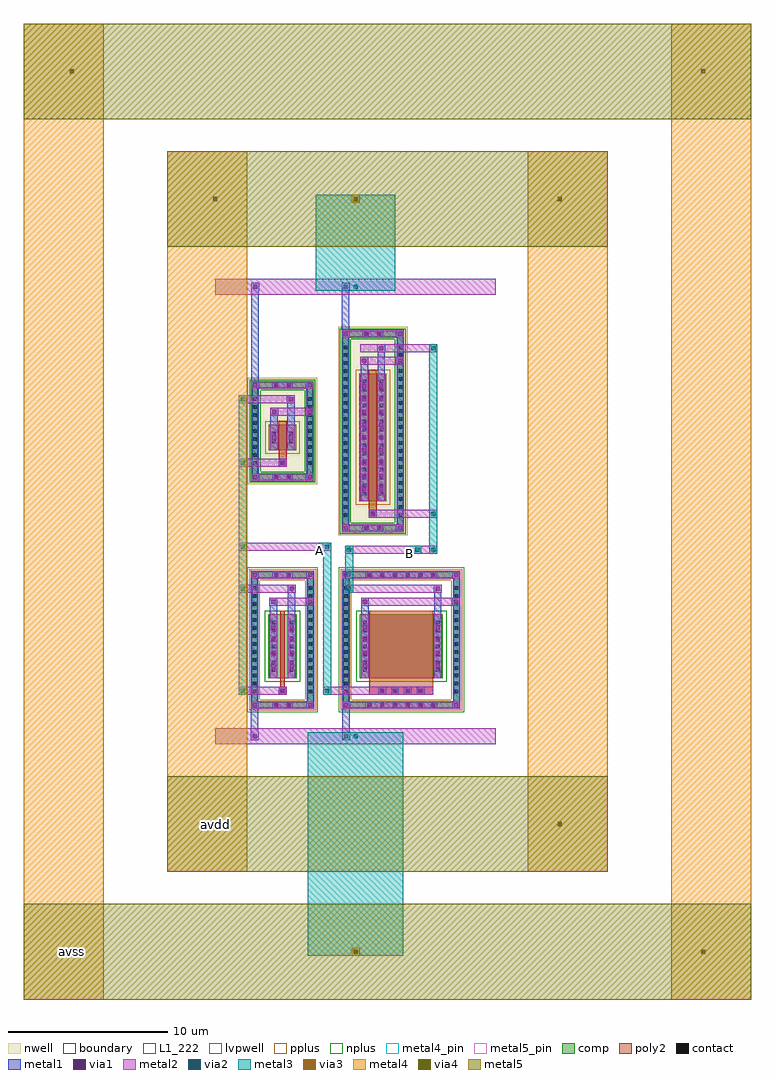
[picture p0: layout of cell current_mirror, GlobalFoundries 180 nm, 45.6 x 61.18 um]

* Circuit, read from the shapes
.subckt current_mirror A B avdd avss
XM1 A A avss avss nfet_03v3 w=4u l=0.28u
XM2 B A avss avss nfet_03v3 w=4u l=4u
XM3 A A avdd avdd pfet_03v3 w=1.6u l=0.5u
XM4 B B avdd avdd pfet_03v3 w=8u l=0.5u
.ends

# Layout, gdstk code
import gdstk
lib = gdstk.Library(unit=1e-6, precision=1e-09)
def R(c, l, rs):  # rectangles x0, y0, x1, y1
    for r in rs: c.add(gdstk.rectangle(r[:2], r[2:], *l))
def A(c, l, x, y, w, h, nx, ny, dx, dy):  # array of equal rectangles
    R(c, l, [(x+i*dx, y+j*dy, x+i*dx+w, y+j*dy+h) for i in range(nx) for j in range(ny)])
def P(c, l, *ps):  # polygons
    for p in ps: c.add(gdstk.Polygon(p, *l))
boundary = (0, 0)
L1_222 = (1, 222)
nwell = (21, 0)
comp = (22, 0)
poly2 = (30, 0)
pplus = (31, 0)
nplus = (32, 0)
contact = (33, 0)
metal1 = (34, 0)
via1 = (35, 0)
metal2 = (36, 0)
via2 = (38, 0)
via3 = (40, 0)
via4 = (41, 0)
metal3 = (42, 0)
metal4 = (46, 0)
metal4_pin = (46, 10)
metal5 = (81, 0)
metal5_pin = (81, 10)
lvpwell = (204, 0)

c_m1 = lib.new_cell('M1')
A(c_m1, comp, -1.94, -3.43, 0.36, 0.36, 1, 14, 0, 0.5)
A(c_m1, comp, 1.58, -3.43, 0.36, 0.36, 1, 14, 0, 0.5)
R(c_m1, comp, [(-0.58,-4.265,-0.22,-3.905), (-0.58,-4.265,0.58,-3.905), (0.22,-4.265,0.58,-3.905), (-1.94,-3.43,-1.58,3.43), (1.58,-3.43,1.94,3.43), (-0.89,-2.405,0.89,1.595), (-0.58,3.905,-0.22,4.265), (-0.58,3.905,0.58,4.265), (0.22,3.905,0.58,4.265)])
P(c_m1, comp, [(-1.94,-4.265),(-1.94,-3.905),(-1.58,-3.905),(1.58,-3.905),(1.58,3.905),(-1.58,3.905),(-1.58,-3.905),(-1.94,-3.905),(-1.94,4.265),(1.94,4.265),(1.94,-4.265)])
R(c_m1, poly2, [(-0.25,-3.445,0.25,-2.945), (-0.18,-3.375,0.18,-3.015), (-0.14,-2.945,0.14,-2.645), (-0.14,-2.645,0.14,1.835)])
P(c_m1, pplus, [(-2.1,-4.425),(-2.1,-3.745),(-1.42,-3.745),(1.42,-3.745),(1.42,3.745),(-1.42,3.745),(-1.42,-3.745),(-2.1,-3.745),(-2.1,4.425),(2.1,4.425),(2.1,-4.425)])
R(c_m1, nplus, [(-1.12,-2.635,1.12,1.825)])
A(c_m1, contact, -1.87, -3.36, 0.22, 0.22, 1, 14, 0, 0.5)
A(c_m1, contact, 1.65, -3.36, 0.22, 0.22, 1, 14, 0, 0.5)
A(c_m1, contact, -0.68, -2.015, 0.22, 0.22, 1, 7, 0, 0.5)
A(c_m1, contact, 0.46, -2.015, 0.22, 0.22, 1, 7, 0, 0.5)
R(c_m1, contact, [(-0.51,-4.195,-0.29,-3.975), (0.29,-4.195,0.51,-3.975), (-0.11,-3.305,0.11,-3.085), (-0.51,3.975,-0.29,4.195), (0.29,3.975,0.51,4.195)])
A(c_m1, metal1, -1.99, -3.48, 0.46, 0.46, 1, 14, 0, 0.5)
A(c_m1, metal1, 1.53, -3.48, 0.46, 0.46, 1, 14, 0, 0.5)
A(c_m1, metal1, -0.8, -2.135, 0.46, 0.46, 1, 7, 0, 0.5)
A(c_m1, metal1, 0.34, -2.135, 0.46, 0.46, 1, 7, 0, 0.5)
A(c_m1, metal1, -0.82, -1.855, 0.5, 0.5, 1, 4, 0, 0.8)
A(c_m1, metal1, 0.32, -1.855, 0.5, 0.5, 1, 4, 0, 0.8)
R(c_m1, metal1, [(-1.99,-4.335,-1.49,-3.835), (-1.99,-4.335,-1.49,-3.835), (-1.99,-4.335,-1.53,-3.905), (-0.65,-4.335,-0.15,-3.835), (-0.65,-4.335,0.65,-3.835), (0.15,-4.335,0.65,-3.835), (1.49,-4.335,1.99,-3.835), (1.49,-4.335,1.99,-3.835), (1.53,-4.335,1.99,-3.905), (-1.99,-3.905,-1.53,3.905), (1.53,-3.905,1.99,3.905), (-0.25,-3.445,0.25,-2.945), (-0.8,-2.405,-0.34,1.595), (0.34,-2.405,0.8,1.595), (-0.82,-1.855,-0.32,1.045), (0.32,-1.855,0.82,1.045), (-0.8,1.595,-0.34,2.645), (0.34,1.595,0.8,3.445), (-0.82,2.145,-0.32,2.645), (0.32,2.945,0.82,3.445), (-1.99,3.835,-1.49,4.335), (-1.99,3.835,-1.49,4.335), (-0.65,3.835,-0.15,4.335), (-0.65,3.835,0.65,4.335), (0.15,3.835,0.65,4.335), (1.49,3.835,1.99,4.335), (1.49,3.835,1.99,4.335), (-1.99,3.905,-1.53,4.335), (1.53,3.905,1.99,4.335)])
A(c_m1, via1, -0.7, -1.735, 0.26, 0.26, 1, 4, 0, 0.8)
A(c_m1, via1, 0.44, -1.735, 0.26, 0.26, 1, 4, 0, 0.8)
R(c_m1, via1, [(-1.87,-4.215,-1.61,-3.955), (-0.53,-4.215,-0.27,-3.955), (0.27,-4.215,0.53,-3.955), (1.61,-4.215,1.87,-3.955), (-0.13,-3.325,0.13,-3.065), (-0.7,2.265,-0.44,2.525), (0.44,3.065,0.7,3.325), (-1.87,3.955,-1.61,4.215), (-0.53,3.955,-0.27,4.215), (0.27,3.955,0.53,4.215), (1.61,3.955,1.87,4.215)])
A(c_m1, metal2, -0.82, -1.855, 0.5, 0.5, 1, 4, 0, 0.8)
A(c_m1, metal2, 0.32, -1.855, 0.5, 0.5, 1, 4, 0, 0.8)
R(c_m1, metal2, [(-1.99,-4.335,-1.49,-3.835), (-1.99,-4.335,-1.49,-3.835), (-1.99,-4.335,-1.58,-3.835), (-1.58,-4.335,1.58,-3.835), (-0.65,-4.335,-0.15,-3.835), (0.15,-4.335,0.65,-3.835), (1.49,-4.335,1.99,-3.835), (1.49,-4.335,1.99,-3.835), (1.58,-4.335,1.99,-3.835), (-0.25,-3.445,0.25,-2.945), (-0.25,-3.445,0.25,-2.945), (-0.82,-2.405,-0.32,1.595), (0.32,-2.405,0.82,1.595), (-0.82,2.145,-0.32,2.645), (-0.82,2.145,0.82,2.645), (-0.82,2.945,0.82,3.445), (0.32,2.945,0.82,3.445), (-1.99,3.835,-1.49,4.335), (-1.99,3.835,-1.49,4.335), (-1.99,3.835,-1.58,4.335), (-1.58,3.835,1.58,4.335), (-0.65,3.835,-0.15,4.335), (0.15,3.835,0.65,4.335), (1.49,3.835,1.99,4.335), (1.49,3.835,1.99,4.335), (1.58,3.835,1.99,4.335)])
R(c_m1, lvpwell, [(-2.22,-4.545,2.22,4.545)])

c_m2 = lib.new_cell('M2')
A(c_m2, comp, -2.18, -4.265, 0.36, 0.36, 6, 2, 0.8, 8.17)
A(c_m2, comp, -3.65, -3.43, 0.36, 0.36, 1, 14, 0, 0.5)
A(c_m2, comp, 3.29, -3.43, 0.36, 0.36, 1, 14, 0, 0.5)
R(c_m2, comp, [(-2.18,-4.265,2.18,-3.905), (-3.65,-3.43,-3.29,3.43), (3.29,-3.43,3.65,3.43), (-2.6,-2.405,2.6,1.595), (-2.18,3.905,2.18,4.265)])
P(c_m2, comp, [(-3.65,-4.265),(-3.65,-3.905),(-3.29,-3.905),(3.29,-3.905),(3.29,3.905),(-3.29,3.905),(-3.29,-3.905),(-3.65,-3.905),(-3.65,4.265),(3.65,4.265),(3.65,-4.265)])
A(c_m2, poly2, -1.38, -3.375, 0.36, 0.36, 4, 1, 0.8, 0)
R(c_m2, poly2, [(-2,-3.445,2,-2.945), (-2,-2.945,2,-2.645), (-2,-2.645,2,1.835)])
P(c_m2, pplus, [(-3.81,-4.425),(-3.81,-3.745),(-3.13,-3.745),(3.13,-3.745),(3.13,3.745),(-3.13,3.745),(-3.13,-3.745),(-3.81,-3.745),(-3.81,4.425),(3.81,4.425),(3.81,-4.425)])
R(c_m2, nplus, [(-2.83,-2.635,2.83,1.825)])
A(c_m2, contact, -2.11, -4.195, 0.22, 0.22, 6, 2, 0.8, 8.17)
A(c_m2, contact, -3.58, -3.36, 0.22, 0.22, 1, 14, 0, 0.5)
A(c_m2, contact, 3.36, -3.36, 0.22, 0.22, 1, 14, 0, 0.5)
A(c_m2, contact, -1.31, -3.305, 0.22, 0.22, 4, 1, 0.8, 0)
A(c_m2, contact, -2.39, -2.015, 0.22, 0.22, 1, 7, 0, 0.5)
A(c_m2, contact, 2.17, -2.015, 0.22, 0.22, 1, 7, 0, 0.5)
A(c_m2, metal1, -2.25, -4.335, 0.5, 0.5, 6, 2, 0.8, 8.17)
A(c_m2, metal1, -3.7, -3.48, 0.46, 0.46, 1, 14, 0, 0.5)
A(c_m2, metal1, 3.24, -3.48, 0.46, 0.46, 1, 14, 0, 0.5)
A(c_m2, metal1, -1.45, -3.445, 0.5, 0.5, 4, 1, 0.8, 0)
A(c_m2, metal1, -2.51, -2.135, 0.46, 0.46, 1, 7, 0, 0.5)
A(c_m2, metal1, 2.05, -2.135, 0.46, 0.46, 1, 7, 0, 0.5)
A(c_m2, metal1, -2.53, -1.855, 0.5, 0.5, 1, 4, 0, 0.8)
A(c_m2, metal1, 2.03, -1.855, 0.5, 0.5, 1, 4, 0, 0.8)
R(c_m2, metal1, [(-3.7,-4.335,-3.2,-3.835), (-3.7,-4.335,-3.2,-3.835), (-3.7,-4.335,-3.24,-3.905), (-2.25,-4.335,2.25,-3.835), (3.2,-4.335,3.7,-3.835), (3.2,-4.335,3.7,-3.835), (3.24,-4.335,3.7,-3.905), (-3.7,-3.905,-3.24,3.905), (3.24,-3.905,3.7,3.905), (-2.51,-2.405,-2.05,1.595), (2.05,-2.405,2.51,1.595), (-2.53,-1.855,-2.03,1.045), (2.03,-1.855,2.53,1.045), (-2.51,1.595,-2.05,2.645), (2.05,1.595,2.51,3.445), (-2.53,2.145,-2.03,2.645), (2.03,2.945,2.53,3.445), (-3.7,3.835,-3.2,4.335), (-3.7,3.835,-3.2,4.335), (-2.25,3.835,2.25,4.335), (3.2,3.835,3.7,4.335), (3.2,3.835,3.7,4.335), (-3.7,3.905,-3.24,4.335), (3.24,3.905,3.7,4.335)])
A(c_m2, via1, -2.13, -4.215, 0.26, 0.26, 6, 2, 0.8, 8.17)
A(c_m2, via1, -1.33, -3.325, 0.26, 0.26, 4, 1, 0.8, 0)
A(c_m2, via1, -2.41, -1.735, 0.26, 0.26, 1, 4, 0, 0.8)
A(c_m2, via1, 2.15, -1.735, 0.26, 0.26, 1, 4, 0, 0.8)
R(c_m2, via1, [(-3.58,-4.215,-3.32,-3.955), (3.32,-4.215,3.58,-3.955), (-2.41,2.265,-2.15,2.525), (2.15,3.065,2.41,3.325), (-3.58,3.955,-3.32,4.215), (3.32,3.955,3.58,4.215)])
A(c_m2, metal2, -2.25, -4.335, 0.5, 0.5, 6, 2, 0.8, 8.17)
A(c_m2, metal2, -1.45, -3.445, 0.5, 0.5, 4, 1, 0.8, 0)
A(c_m2, metal2, -2.53, -1.855, 0.5, 0.5, 1, 4, 0, 0.8)
A(c_m2, metal2, 2.03, -1.855, 0.5, 0.5, 1, 4, 0, 0.8)
R(c_m2, metal2, [(-3.7,-4.335,-3.2,-3.835), (-3.7,-4.335,-3.2,-3.835), (-3.7,-4.335,-3.29,-3.835), (-3.29,-4.335,3.29,-3.835), (3.2,-4.335,3.7,-3.835), (3.2,-4.335,3.7,-3.835), (3.29,-4.335,3.7,-3.835), (-2,-3.445,2,-2.945), (-2.53,-2.405,-2.03,1.595), (2.03,-2.405,2.53,1.595), (-2.53,2.145,-2.03,2.645), (-2.53,2.145,2.53,2.645), (-2.53,2.945,2.53,3.445), (2.03,2.945,2.53,3.445), (-3.7,3.835,-3.2,4.335), (-3.7,3.835,-3.2,4.335), (-3.7,3.835,-3.29,4.335), (-3.29,3.835,3.29,4.335), (3.2,3.835,3.7,4.335), (3.2,3.835,3.7,4.335), (3.29,3.835,3.7,4.335)])
R(c_m2, lvpwell, [(-3.93,-4.545,3.93,4.545)])

c_m3 = lib.new_cell('M3')
R(c_m3, nwell, [(-2.18,-6.545,2.18,6.545), (-2.02,-6.385,2.02,6.385)])
A(c_m3, comp, -1.9, -5.43, 0.36, 0.36, 1, 22, 0, 0.5)
A(c_m3, comp, 1.54, -5.43, 0.36, 0.36, 1, 22, 0, 0.5)
R(c_m3, comp, [(-0.58,-6.265,-0.22,-5.905), (-0.58,-6.265,0.58,-5.905), (0.22,-6.265,0.58,-5.905), (-1.9,-5.43,-1.54,5.43), (1.54,-5.43,1.9,5.43), (-0.85,-4.405,0.85,3.595), (-0.58,5.905,-0.22,6.265), (-0.58,5.905,0.58,6.265), (0.22,5.905,0.58,6.265)])
P(c_m3, comp, [(-1.9,-6.265),(-1.9,-5.905),(-1.54,-5.905),(1.54,-5.905),(1.54,5.905),(-1.54,5.905),(-1.54,-5.905),(-1.9,-5.905),(-1.9,6.265),(1.9,6.265),(1.9,-6.265)])
R(c_m3, poly2, [(-0.25,-5.445,0.25,-4.945), (-0.18,-5.375,0.18,-5.015), (-0.25,-4.945,0.25,-4.645), (-0.25,-4.645,0.25,3.835)])
R(c_m3, pplus, [(-1.08,-4.635,1.08,3.825)])
P(c_m3, nplus, [(-2.06,-6.425),(-2.06,-5.745),(-1.38,-5.745),(1.38,-5.745),(1.38,5.745),(-1.38,5.745),(-1.38,-5.745),(-2.06,-5.745),(-2.06,6.425),(2.06,6.425),(2.06,-6.425)])
A(c_m3, contact, -1.83, -5.36, 0.22, 0.22, 1, 22, 0, 0.5)
A(c_m3, contact, 1.61, -5.36, 0.22, 0.22, 1, 22, 0, 0.5)
A(c_m3, contact, -0.64, -4.015, 0.22, 0.22, 1, 15, 0, 0.5)
A(c_m3, contact, 0.42, -4.015, 0.22, 0.22, 1, 15, 0, 0.5)
R(c_m3, contact, [(-0.51,-6.195,-0.29,-5.975), (0.29,-6.195,0.51,-5.975), (-0.11,-5.305,0.11,-5.085), (-0.51,5.975,-0.29,6.195), (0.29,5.975,0.51,6.195)])
A(c_m3, metal1, -1.95, -5.48, 0.46, 0.46, 1, 22, 0, 0.5)
A(c_m3, metal1, 1.49, -5.48, 0.46, 0.46, 1, 22, 0, 0.5)
A(c_m3, metal1, -0.76, -4.135, 0.46, 0.46, 1, 15, 0, 0.5)
A(c_m3, metal1, 0.3, -4.135, 0.46, 0.46, 1, 15, 0, 0.5)
A(c_m3, metal1, -0.78, -3.855, 0.5, 0.5, 1, 9, 0, 0.8)
A(c_m3, metal1, 0.28, -3.855, 0.5, 0.5, 1, 9, 0, 0.8)
R(c_m3, metal1, [(-1.95,-6.335,-1.45,-5.835), (-1.95,-6.335,-1.45,-5.835), (-1.95,-6.335,-1.49,-5.905), (-0.65,-6.335,-0.15,-5.835), (-0.65,-6.335,0.65,-5.835), (0.15,-6.335,0.65,-5.835), (1.45,-6.335,1.95,-5.835), (1.45,-6.335,1.95,-5.835), (1.49,-6.335,1.95,-5.905), (-1.95,-5.905,-1.49,5.905), (1.49,-5.905,1.95,5.905), (-0.25,-5.445,0.25,-4.945), (-0.76,-4.405,-0.3,3.595), (0.3,-4.405,0.76,3.595), (-0.78,-3.855,-0.28,3.045), (0.28,-3.855,0.78,3.045), (-0.76,3.595,-0.3,4.645), (0.3,3.595,0.76,5.445), (-0.78,4.145,-0.28,4.645), (0.28,4.945,0.78,5.445), (-1.95,5.835,-1.45,6.335), (-1.95,5.835,-1.45,6.335), (-0.65,5.835,-0.15,6.335), (-0.65,5.835,0.65,6.335), (0.15,5.835,0.65,6.335), (1.45,5.835,1.95,6.335), (1.45,5.835,1.95,6.335), (-1.95,5.905,-1.49,6.335), (1.49,5.905,1.95,6.335)])
A(c_m3, via1, -0.66, -3.735, 0.26, 0.26, 1, 9, 0, 0.8)
A(c_m3, via1, 0.4, -3.735, 0.26, 0.26, 1, 9, 0, 0.8)
R(c_m3, via1, [(-1.83,-6.215,-1.57,-5.955), (-0.53,-6.215,-0.27,-5.955), (0.27,-6.215,0.53,-5.955), (1.57,-6.215,1.83,-5.955), (-0.13,-5.325,0.13,-5.065), (-0.66,4.265,-0.4,4.525), (0.4,5.065,0.66,5.325), (-1.83,5.955,-1.57,6.215), (-0.53,5.955,-0.27,6.215), (0.27,5.955,0.53,6.215), (1.57,5.955,1.83,6.215)])
A(c_m3, metal2, -0.78, -3.855, 0.5, 0.5, 1, 9, 0, 0.8)
A(c_m3, metal2, 0.28, -3.855, 0.5, 0.5, 1, 9, 0, 0.8)
R(c_m3, metal2, [(-1.95,-6.335,-1.45,-5.835), (-1.95,-6.335,-1.45,-5.835), (-1.95,-6.335,-1.54,-5.835), (-1.54,-6.335,1.54,-5.835), (-0.65,-6.335,-0.15,-5.835), (0.15,-6.335,0.65,-5.835), (1.45,-6.335,1.95,-5.835), (1.45,-6.335,1.95,-5.835), (1.54,-6.335,1.95,-5.835), (-0.25,-5.445,0.25,-4.945), (-0.25,-5.445,0.25,-4.945), (-0.78,-4.405,-0.28,3.595), (0.28,-4.405,0.78,3.595), (-0.78,4.145,-0.28,4.645), (-0.78,4.145,0.78,4.645), (-0.78,4.945,0.78,5.445), (0.28,4.945,0.78,5.445), (-1.95,5.835,-1.45,6.335), (-1.95,5.835,-1.45,6.335), (-1.95,5.835,-1.54,6.335), (-1.54,5.835,1.54,6.335), (-0.65,5.835,-0.15,6.335), (0.15,5.835,0.65,6.335), (1.45,5.835,1.95,6.335), (1.45,5.835,1.95,6.335), (1.54,5.835,1.95,6.335)])

c_m4 = lib.new_cell('M4')
R(c_m4, nwell, [(-2.18,-3.345,2.18,3.345), (-2.02,-3.185,2.02,3.185)])
A(c_m4, comp, -1.9, -2.18, 0.36, 0.36, 1, 9, 0, 0.5)
A(c_m4, comp, 1.54, -2.18, 0.36, 0.36, 1, 9, 0, 0.5)
R(c_m4, comp, [(-0.58,-3.065,-0.22,-2.705), (-0.58,-3.065,0.58,-2.705), (0.22,-3.065,0.58,-2.705), (-1.9,-2.18,-1.54,2.18), (1.54,-2.18,1.9,2.18), (-0.85,-1.205,0.85,0.395), (-0.58,2.705,-0.22,3.065), (-0.58,2.705,0.58,3.065), (0.22,2.705,0.58,3.065)])
P(c_m4, comp, [(-1.9,-3.065),(-1.9,-2.705),(-1.54,-2.705),(1.54,-2.705),(1.54,2.705),(-1.54,2.705),(-1.54,-2.705),(-1.9,-2.705),(-1.9,3.065),(1.9,3.065),(1.9,-3.065)])
R(c_m4, poly2, [(-0.25,-2.245,0.25,-1.745), (-0.18,-2.175,0.18,-1.815), (-0.25,-1.745,0.25,-1.445), (-0.25,-1.445,0.25,0.635)])
R(c_m4, pplus, [(-1.08,-1.435,1.08,0.625)])
P(c_m4, nplus, [(-2.06,-3.225),(-2.06,-2.545),(-1.38,-2.545),(1.38,-2.545),(1.38,2.545),(-1.38,2.545),(-1.38,-2.545),(-2.06,-2.545),(-2.06,3.225),(2.06,3.225),(2.06,-3.225)])
A(c_m4, contact, -1.83, -2.11, 0.22, 0.22, 1, 9, 0, 0.5)
A(c_m4, contact, 1.61, -2.11, 0.22, 0.22, 1, 9, 0, 0.5)
R(c_m4, contact, [(-0.51,-2.995,-0.29,-2.775), (0.29,-2.995,0.51,-2.775), (-0.11,-2.105,0.11,-1.885), (-0.64,-0.765,-0.42,-0.545), (0.42,-0.765,0.64,-0.545), (-0.64,-0.265,-0.42,-0.045), (0.42,-0.265,0.64,-0.045), (-0.51,2.775,-0.29,2.995), (0.29,2.775,0.51,2.995)])
A(c_m4, metal1, -1.95, -2.23, 0.46, 0.46, 1, 9, 0, 0.5)
A(c_m4, metal1, 1.49, -2.23, 0.46, 0.46, 1, 9, 0, 0.5)
R(c_m4, metal1, [(-1.95,-3.135,-1.45,-2.635), (-1.95,-3.135,-1.45,-2.635), (-1.95,-3.135,-1.49,-2.705), (-0.65,-3.135,-0.15,-2.635), (-0.65,-3.135,0.65,-2.635), (0.15,-3.135,0.65,-2.635), (1.45,-3.135,1.95,-2.635), (1.45,-3.135,1.95,-2.635), (1.49,-3.135,1.95,-2.705), (-1.95,-2.705,-1.49,2.705), (1.49,-2.705,1.95,2.705), (-0.25,-2.245,0.25,-1.745), (-0.76,-1.205,-0.3,0.395), (0.3,-1.205,0.76,0.395), (-0.76,-0.885,-0.3,-0.425), (0.3,-0.885,0.76,-0.425), (-0.78,-0.655,-0.28,-0.155), (-0.78,-0.655,-0.28,-0.155), (0.28,-0.655,0.78,-0.155), (0.28,-0.655,0.78,-0.155), (-0.76,-0.385,-0.3,0.075), (0.3,-0.385,0.76,0.075), (-0.76,0.395,-0.3,1.445), (0.3,0.395,0.76,2.245), (-0.78,0.945,-0.28,1.445), (0.28,1.745,0.78,2.245), (-1.95,2.635,-1.45,3.135), (-1.95,2.635,-1.45,3.135), (-0.65,2.635,-0.15,3.135), (-0.65,2.635,0.65,3.135), (0.15,2.635,0.65,3.135), (1.45,2.635,1.95,3.135), (1.45,2.635,1.95,3.135), (-1.95,2.705,-1.49,3.135), (1.49,2.705,1.95,3.135)])
R(c_m4, via1, [(-1.83,-3.015,-1.57,-2.755), (-0.53,-3.015,-0.27,-2.755), (0.27,-3.015,0.53,-2.755), (1.57,-3.015,1.83,-2.755), (-0.13,-2.125,0.13,-1.865), (-0.66,-0.535,-0.4,-0.275), (0.4,-0.535,0.66,-0.275), (-0.66,1.065,-0.4,1.325), (0.4,1.865,0.66,2.125), (-1.83,2.755,-1.57,3.015), (-0.53,2.755,-0.27,3.015), (0.27,2.755,0.53,3.015), (1.57,2.755,1.83,3.015)])
R(c_m4, metal2, [(-1.95,-3.135,-1.45,-2.635), (-1.95,-3.135,-1.45,-2.635), (-1.95,-3.135,-1.54,-2.635), (-1.54,-3.135,1.54,-2.635), (-0.65,-3.135,-0.15,-2.635), (0.15,-3.135,0.65,-2.635), (1.45,-3.135,1.95,-2.635), (1.45,-3.135,1.95,-2.635), (1.54,-3.135,1.95,-2.635), (-0.25,-2.245,0.25,-1.745), (-0.25,-2.245,0.25,-1.745), (-0.78,-1.205,-0.28,0.395), (0.28,-1.205,0.78,0.395), (-0.78,-0.655,-0.28,-0.155), (0.28,-0.655,0.78,-0.155), (-0.78,0.945,-0.28,1.445), (-0.78,0.945,0.78,1.445), (-0.78,1.745,0.78,2.245), (0.28,1.745,0.78,2.245), (-1.95,2.635,-1.45,3.135), (-1.95,2.635,-1.45,3.135), (-1.95,2.635,-1.54,3.135), (-1.54,2.635,1.54,3.135), (-0.65,2.635,-0.15,3.135), (0.15,2.635,0.65,3.135), (1.45,2.635,1.95,3.135), (1.45,2.635,1.95,3.135), (1.54,2.635,1.95,3.135)])

compass_efcb33f4 = lib.new_cell('compass_efcb33f4')
R(compass_efcb33f4, metal2, [(-8.8,-0.5,8.8,0.5)])

rectangle_efcb33f4 = lib.new_cell('rectangle_efcb33f4')
rectangle_efcb33f4.add(gdstk.Reference(compass_efcb33f4, (8.8,0.5)))

compass_efcb33f4_1 = lib.new_cell('compass_efcb33f4$1')
R(compass_efcb33f4_1, metal2, [(-8.8,-0.5,8.8,0.5)])

rectangle_efcb33f4_1 = lib.new_cell('rectangle_efcb33f4$1')
rectangle_efcb33f4_1.add(gdstk.Reference(compass_efcb33f4_1, (8.8,0.5)))

via_stack_a2e89513 = lib.new_cell('via_stack_a2e89513')
R(via_stack_a2e89513, metal2, [(-0.25,-0.25,0.25,0.25)])
R(via_stack_a2e89513, via2, [(-0.13,-0.13,0.13,0.13)])
R(via_stack_a2e89513, metal3, [(-0.25,-0.25,0.25,0.25)])

compass_419645f2 = lib.new_cell('compass_419645f2')
R(compass_419645f2, metal5, [(-13.8,-3,13.8,3)])

rectangle_419645f2 = lib.new_cell('rectangle_419645f2')
rectangle_419645f2.add(gdstk.Reference(compass_419645f2, (13.8,3)))

compass_b1b70d86 = lib.new_cell('compass_b1b70d86')
R(compass_b1b70d86, metal5_pin, [(-13.8,-3,13.8,3)])

rectangle_b1b70d86 = lib.new_cell('rectangle_b1b70d86')
rectangle_b1b70d86.add(gdstk.Reference(compass_b1b70d86, (13.8,3)))

compass_09765aef = lib.new_cell('compass_09765aef')
R(compass_09765aef, metal5, [(-22.8,-3,22.8,3)])

rectangle_09765aef = lib.new_cell('rectangle_09765aef')
rectangle_09765aef.add(gdstk.Reference(compass_09765aef, (22.8,3)))

compass_440c9197 = lib.new_cell('compass_440c9197')
R(compass_440c9197, metal5_pin, [(-22.8,-3,22.8,3)])

rectangle_440c9197 = lib.new_cell('rectangle_440c9197')
rectangle_440c9197.add(gdstk.Reference(compass_440c9197, (22.8,3)))

compass_419645f2_1 = lib.new_cell('compass_419645f2$1')
R(compass_419645f2_1, metal5, [(-13.8,-3,13.8,3)])

rectangle_419645f2_1 = lib.new_cell('rectangle_419645f2$1')
rectangle_419645f2_1.add(gdstk.Reference(compass_419645f2_1, (13.8,3)))

compass_b1b70d86_1 = lib.new_cell('compass_b1b70d86$1')
R(compass_b1b70d86_1, metal5_pin, [(-13.8,-3,13.8,3)])

rectangle_b1b70d86_1 = lib.new_cell('rectangle_b1b70d86$1')
rectangle_b1b70d86_1.add(gdstk.Reference(compass_b1b70d86_1, (13.8,3)))

compass_09765aef_1 = lib.new_cell('compass_09765aef$1')
R(compass_09765aef_1, metal5, [(-22.8,-3,22.8,3)])

rectangle_09765aef_1 = lib.new_cell('rectangle_09765aef$1')
rectangle_09765aef_1.add(gdstk.Reference(compass_09765aef_1, (22.8,3)))

compass_440c9197_1 = lib.new_cell('compass_440c9197$1')
R(compass_440c9197_1, metal5_pin, [(-22.8,-3,22.8,3)])

rectangle_440c9197_1 = lib.new_cell('rectangle_440c9197$1')
rectangle_440c9197_1.add(gdstk.Reference(compass_440c9197_1, (22.8,3)))

via_stack_52ee5bc6 = lib.new_cell('via_stack_52ee5bc6')
R(via_stack_52ee5bc6, via4, [(-0.13,-0.13,0.13,0.13)])
R(via_stack_52ee5bc6, metal4, [(-0.25,-0.25,0.25,0.25)])
R(via_stack_52ee5bc6, metal5, [(-0.25,-0.25,0.25,0.25)])

via_stack_52ee5bc6_1 = lib.new_cell('via_stack_52ee5bc6$1')
R(via_stack_52ee5bc6_1, via4, [(-0.13,-0.13,0.13,0.13)])
R(via_stack_52ee5bc6_1, metal4, [(-0.25,-0.25,0.25,0.25)])
R(via_stack_52ee5bc6_1, metal5, [(-0.25,-0.25,0.25,0.25)])

via_stack_52ee5bc6_2 = lib.new_cell('via_stack_52ee5bc6$2')
R(via_stack_52ee5bc6_2, via4, [(-0.13,-0.13,0.13,0.13)])
R(via_stack_52ee5bc6_2, metal4, [(-0.25,-0.25,0.25,0.25)])
R(via_stack_52ee5bc6_2, metal5, [(-0.25,-0.25,0.25,0.25)])

via_stack_52ee5bc6_3 = lib.new_cell('via_stack_52ee5bc6$3')
R(via_stack_52ee5bc6_3, via4, [(-0.13,-0.13,0.13,0.13)])
R(via_stack_52ee5bc6_3, metal4, [(-0.25,-0.25,0.25,0.25)])
R(via_stack_52ee5bc6_3, metal5, [(-0.25,-0.25,0.25,0.25)])

compass_0890f839 = lib.new_cell('compass_0890f839')
R(compass_0890f839, metal4, [(-2.5,-30.59,2.5,30.59)])

rectangle_0890f839 = lib.new_cell('rectangle_0890f839')
rectangle_0890f839.add(gdstk.Reference(compass_0890f839, (2.5,30.59)))

compass_c280ddcc = lib.new_cell('compass_c280ddcc')
R(compass_c280ddcc, metal4_pin, [(-2.5,-30.59,2.5,30.59)])

rectangle_c280ddcc = lib.new_cell('rectangle_c280ddcc')
rectangle_c280ddcc.add(gdstk.Reference(compass_c280ddcc, (2.5,30.59)))

compass_0890f839_1 = lib.new_cell('compass_0890f839$1')
R(compass_0890f839_1, metal4, [(-2.5,-30.59,2.5,30.59)])

rectangle_0890f839_1 = lib.new_cell('rectangle_0890f839$1')
rectangle_0890f839_1.add(gdstk.Reference(compass_0890f839_1, (2.5,30.59)))

compass_c280ddcc_1 = lib.new_cell('compass_c280ddcc$1')
R(compass_c280ddcc_1, metal4_pin, [(-2.5,-30.59,2.5,30.59)])

rectangle_c280ddcc_1 = lib.new_cell('rectangle_c280ddcc$1')
rectangle_c280ddcc_1.add(gdstk.Reference(compass_c280ddcc_1, (2.5,30.59)))

compass_76be499d = lib.new_cell('compass_76be499d')
R(compass_76be499d, metal4, [(-2.5,-22.59,2.5,22.59)])

rectangle_76be499d = lib.new_cell('rectangle_76be499d')
rectangle_76be499d.add(gdstk.Reference(compass_76be499d, (2.5,22.59)))

compass_f95d80a2 = lib.new_cell('compass_f95d80a2')
R(compass_f95d80a2, metal4_pin, [(-2.5,-22.59,2.5,22.59)])

rectangle_f95d80a2 = lib.new_cell('rectangle_f95d80a2')
rectangle_f95d80a2.add(gdstk.Reference(compass_f95d80a2, (2.5,22.59)))

compass_76be499d_1 = lib.new_cell('compass_76be499d$1')
R(compass_76be499d_1, metal4, [(-2.5,-22.59,2.5,22.59)])

rectangle_76be499d_1 = lib.new_cell('rectangle_76be499d$1')
rectangle_76be499d_1.add(gdstk.Reference(compass_76be499d_1, (2.5,22.59)))

compass_f95d80a2_1 = lib.new_cell('compass_f95d80a2$1')
R(compass_f95d80a2_1, metal4_pin, [(-2.5,-22.59,2.5,22.59)])

rectangle_f95d80a2_1 = lib.new_cell('rectangle_f95d80a2$1')
rectangle_f95d80a2_1.add(gdstk.Reference(compass_f95d80a2_1, (2.5,22.59)))

straight_route_819dcdec = lib.new_cell('straight_route_819dcdec')
R(straight_route_819dcdec, via3, [(6.67,36.05,6.93,36.31)])
R(straight_route_819dcdec, via4, [(6.67,36.05,6.93,36.31)])
R(straight_route_819dcdec, metal3, [(4.3,30.43,9.3,36.43), (6.55,35.93,7.05,36.43)])
R(straight_route_819dcdec, metal4, [(6.55,35.93,7.05,36.43)])
R(straight_route_819dcdec, metal5, [(6.55,35.93,7.05,36.43)])

straight_route_5f260ded = lib.new_cell('straight_route_5f260ded')
R(straight_route_5f260ded, via3, [(6.67,-11.13,6.93,-10.87)])
R(straight_route_5f260ded, via4, [(6.67,-11.13,6.93,-10.87)])
R(straight_route_5f260ded, metal3, [(3.8,-11.25,9.8,2.75), (6.55,-11.25,7.05,-10.75)])
R(straight_route_5f260ded, metal4, [(6.55,-11.25,7.05,-10.75)])
R(straight_route_5f260ded, metal5, [(6.55,-11.25,7.05,-10.75)])

via_stack_a2e89513_1 = lib.new_cell('via_stack_a2e89513$1')
R(via_stack_a2e89513_1, metal2, [(-0.25,-0.25,0.25,0.25)])
R(via_stack_a2e89513_1, via2, [(-0.13,-0.13,0.13,0.13)])
R(via_stack_a2e89513_1, metal3, [(-0.25,-0.25,0.25,0.25)])

compass_2d1cdd23_4 = lib.new_cell('compass_2d1cdd23$4')
R(compass_2d1cdd23_4, metal3, [(-0.25,-0.25,0.25,0.25)])

rectangle_2d1cdd23 = lib.new_cell('rectangle_2d1cdd23')
rectangle_2d1cdd23.add(gdstk.Reference(compass_2d1cdd23_4, (0.25,0.25)))

compass_2d1cdd23_5 = lib.new_cell('compass_2d1cdd23$5')
R(compass_2d1cdd23_5, metal3, [(-0.25,-0.25,0.25,0.25)])

rectangle_2d1cdd23_1 = lib.new_cell('rectangle_2d1cdd23$1')
rectangle_2d1cdd23_1.add(gdstk.Reference(compass_2d1cdd23_5, (0.25,0.25)))

l_route_24cce561 = lib.new_cell('L_route_24cce561')
R(l_route_24cce561, metal1, [(14.27,38.34,14.73,44.93), (14.27,44.43,14.77,44.93), (14.27,44.43,14.77,44.93)])
R(l_route_24cce561, via1, [(14.39,44.55,14.65,44.81)])
R(l_route_24cce561, metal2, [(14.27,44.43,20.55,44.93), (14.27,44.43,14.77,44.93), (14.27,44.43,14.77,44.93)])

l_route_2b41ba0c = lib.new_cell('L_route_2b41ba0c')
R(l_route_2b41ba0c, metal1, [(19.93,41.54,20.39,44.93), (19.93,44.43,20.43,44.93), (19.93,44.43,20.43,44.93)])
R(l_route_2b41ba0c, via1, [(20.05,44.55,20.31,44.81)])
R(l_route_2b41ba0c, metal2, [(19.93,44.43,20.55,44.93), (19.93,44.43,20.43,44.93), (19.93,44.43,20.43,44.93)])

l_route_df1647fc = lib.new_cell('L_route_df1647fc')
R(l_route_df1647fc, metal1, [(14.23,16.25,14.73,16.75), (14.23,16.25,14.73,16.75), (14.23,16.25,14.69,18.64)])
R(l_route_df1647fc, via1, [(14.35,16.37,14.61,16.63)])
R(l_route_df1647fc, metal2, [(14.23,16.25,20.55,16.75), (14.23,16.25,14.73,16.75), (14.23,16.25,14.73,16.75)])

l_route_99612af3 = lib.new_cell('L_route_99612af3')
R(l_route_99612af3, metal1, [(19.97,16.25,20.47,16.75), (19.97,16.25,20.47,16.75), (19.97,16.25,20.43,18.64)])
R(l_route_99612af3, via1, [(20.09,16.37,20.35,16.63)])
R(l_route_99612af3, metal2, [(19.97,16.25,20.55,16.75), (19.97,16.25,20.47,16.75), (19.97,16.25,20.47,16.75)])

l_route_25e8295b = lib.new_cell('L_route_25e8295b')
R(l_route_25e8295b, metal1, [(17.67,36.58,18.17,37.08), (17.67,36.58,18.17,37.08), (17.71,36.58,18.17,38.34)])
R(l_route_25e8295b, via1, [(17.79,36.7,18.05,36.96)])
R(l_route_25e8295b, metal2, [(17,36.58,18.17,37.08), (17.67,36.58,18.17,37.08), (17.67,36.58,18.17,37.08)])

l_route_80858dd9 = lib.new_cell('L_route_80858dd9')
R(l_route_80858dd9, metal1, [(23.33,39.78,23.83,40.28), (23.33,39.78,23.83,40.28), (23.37,39.78,23.83,41.54)])
R(l_route_80858dd9, via1, [(23.45,39.9,23.71,40.16)])
R(l_route_80858dd9, metal2, [(22.66,39.78,23.83,40.28), (23.33,39.78,23.83,40.28), (23.33,39.78,23.83,40.28)])

l_route_211b750f = lib.new_cell('L_route_211b750f')
R(l_route_211b750f, metal1, [(17.71,24.69,18.21,25.19), (17.71,24.69,18.21,25.19), (17.75,24.69,18.21,26.45)])
R(l_route_211b750f, via1, [(17.83,24.81,18.09,25.07)])
R(l_route_211b750f, metal2, [(17.04,24.69,18.21,25.19), (17.71,24.69,18.21,25.19), (17.71,24.69,18.21,25.19)])

l_route_c3288552 = lib.new_cell('L_route_c3288552')
R(l_route_c3288552, metal1, [(26.87,24.69,27.37,25.19), (26.87,24.69,27.37,25.19), (26.91,24.69,27.37,26.45)])
R(l_route_c3288552, via1, [(26.99,24.81,27.25,25.07)])
R(l_route_c3288552, metal2, [(26.2,24.69,27.37,25.19), (26.87,24.69,27.37,25.19), (26.87,24.69,27.37,25.19)])

l_route_75e73719 = lib.new_cell('L_route_75e73719')
R(l_route_75e73719, metal2, [(13.47,37.38,15.44,37.88), (13.47,37.38,13.97,37.88), (13.47,37.38,13.97,37.88)])
R(l_route_75e73719, via2, [(13.59,37.5,13.85,37.76)])
R(l_route_75e73719, metal3, [(13.47,28.64,13.97,37.88), (13.47,37.38,13.97,37.88), (13.47,37.38,13.97,37.88)])

l_route_00207c82 = lib.new_cell('L_route_00207c82')
R(l_route_00207c82, metal2, [(13.47,25.49,15.4,25.99), (13.47,25.49,13.97,25.99), (13.47,25.49,13.97,25.99)])
R(l_route_00207c82, via2, [(13.59,25.61,13.85,25.87)])
R(l_route_00207c82, metal3, [(13.47,25.49,13.97,25.99), (13.47,25.49,13.97,25.99), (13.47,25.49,13.97,28.14)])

l_route_efd461fa = lib.new_cell('L_route_efd461fa')
R(l_route_efd461fa, metal2, [(13.47,33.39,15.97,33.89), (13.47,33.39,13.97,33.89), (13.47,33.39,13.97,33.89)])
R(l_route_efd461fa, via2, [(13.59,33.51,13.85,33.77)])
R(l_route_efd461fa, metal3, [(13.47,28.64,13.97,33.89), (13.47,33.39,13.97,33.89), (13.47,33.39,13.97,33.89)])

l_route_b2b0ddf2 = lib.new_cell('L_route_b2b0ddf2')
R(l_route_b2b0ddf2, metal2, [(13.47,19.1,15.97,19.6), (13.47,19.1,13.97,19.6), (13.47,19.1,13.97,19.6)])
R(l_route_b2b0ddf2, via2, [(13.59,19.22,13.85,19.48)])
R(l_route_b2b0ddf2, metal3, [(13.47,19.1,13.97,19.6), (13.47,19.1,13.97,19.6), (13.47,19.1,13.97,28.14)])

straight_route_6e2dd1bb = lib.new_cell('straight_route_6e2dd1bb')
R(straight_route_6e2dd1bb, metal2, [(13.47,28.14,19.27,28.64)])

l_route_e2b7109f = lib.new_cell('L_route_e2b7109f')
R(l_route_e2b7109f, metal2, [(18.77,19.1,21.67,19.6), (18.77,19.1,19.27,19.6), (18.77,19.1,19.27,19.6)])
R(l_route_e2b7109f, via2, [(18.89,19.22,19.15,19.48)])
R(l_route_e2b7109f, metal3, [(18.77,19.1,19.27,19.6), (18.77,19.1,19.27,19.6), (18.77,19.1,19.27,28.14)])

c_route_9bcaa981 = lib.new_cell('c_route_9bcaa981')
R(c_route_9bcaa981, metal2, [(24.93,27.94,25.93,28.44), (25.43,27.94,25.93,28.44), (22.66,40.58,25.93,41.08), (25.43,40.58,25.93,41.08)])
R(c_route_9bcaa981, via2, [(25.55,28.06,25.81,28.32), (25.55,40.7,25.81,40.96)])
R(c_route_9bcaa981, metal3, [(25.43,27.94,25.93,28.44), (25.43,27.94,25.93,28.44), (25.43,27.94,25.93,41.08), (25.43,40.58,25.93,41.08), (25.43,40.58,25.93,41.08)])
P(c_route_9bcaa981, metal3, [(25.93,27.94),(25.93,28.44),(25.93,28.44),(25.93,27.94)],
  [(25.93,40.58),(25.93,41.08),(25.93,41.08),(25.93,40.58)])

c_route_945cb1bc = lib.new_cell('c_route_945cb1bc')
R(c_route_945cb1bc, metal2, [(24.93,27.94,25.93,28.44), (25.43,27.94,25.93,28.44), (22.13,30.19,25.93,30.69), (25.43,30.19,25.93,30.69)])
R(c_route_945cb1bc, via2, [(25.55,28.06,25.81,28.32), (25.55,30.31,25.81,30.57)])
R(c_route_945cb1bc, metal3, [(25.43,27.94,25.93,28.44), (25.43,27.94,25.93,28.44), (25.43,27.94,25.93,30.69), (25.43,30.19,25.93,30.69), (25.43,30.19,25.93,30.69)])
P(c_route_945cb1bc, metal3, [(25.93,27.94),(25.93,28.44),(25.93,28.44),(25.93,27.94)],
  [(25.93,30.19),(25.93,30.69),(25.93,30.69),(25.93,30.19)])

c_route_0a53d69d = lib.new_cell('c_route_0a53d69d')
R(c_route_0a53d69d, metal2, [(20.14,25.49,21.14,25.99), (20.14,25.49,20.64,25.99), (20.14,27.94,20.64,28.44), (20.14,27.94,24.43,28.44)])
R(c_route_0a53d69d, via2, [(20.26,25.61,20.52,25.87), (20.26,28.06,20.52,28.32)])
R(c_route_0a53d69d, metal3, [(20.14,25.49,20.64,25.99), (20.14,25.49,20.64,25.99), (20.14,25.49,20.64,28.44), (20.14,27.94,20.64,28.44), (20.14,27.94,20.64,28.44)])
P(c_route_0a53d69d, metal3, [(20.64,25.49),(20.64,25.99),(20.64,25.99),(20.64,25.49)],
  [(20.64,27.94),(20.64,28.44),(20.64,28.44),(20.64,27.94)])

current_mirror = lib.new_cell('current_mirror')
R(current_mirror, boundary, [(0,0,45.6,61.18)])
R(current_mirror, L1_222, [(0,0,45.6,61.18)])
current_mirror.add(gdstk.Reference(c_m1, (16.22,22.545)))
current_mirror.add(gdstk.Reference(c_m2, (23.67,22.545)))
current_mirror.add(gdstk.Reference(c_m3, (21.88,35.635)))
current_mirror.add(gdstk.Reference(c_m4, (16.22,35.635)))
current_mirror.add(gdstk.Reference(rectangle_efcb33f4, (12,44.18)))
current_mirror.add(gdstk.Reference(rectangle_efcb33f4_1, (12,16)))
current_mirror.add(gdstk.Reference(via_stack_a2e89513, (20.8,44.68)))
current_mirror.add(gdstk.Reference(via_stack_a2e89513, (20.8,16.5)))
current_mirror.add(gdstk.Reference(rectangle_419645f2, (9,47.18)))
current_mirror.add(gdstk.Reference(rectangle_b1b70d86, (9,47.18)))
current_mirror.add(gdstk.Reference(rectangle_09765aef, (0,55.18)))
current_mirror.add(gdstk.Reference(rectangle_440c9197, (0,55.18)))
current_mirror.add(gdstk.Reference(rectangle_419645f2_1, (9,8)))
current_mirror.add(gdstk.Reference(rectangle_b1b70d86_1, (9,8)))
current_mirror.add(gdstk.Reference(rectangle_09765aef_1, (0,0)))
current_mirror.add(gdstk.Reference(rectangle_440c9197_1, (0,0)))
current_mirror.add(gdstk.Reference(via_stack_52ee5bc6, (3,58.18)))
current_mirror.add(gdstk.Reference(via_stack_52ee5bc6_1, (42.6,58.18)))
current_mirror.add(gdstk.Reference(via_stack_52ee5bc6_2, (3,3)))
current_mirror.add(gdstk.Reference(via_stack_52ee5bc6_2, (42.6,3)))
current_mirror.add(gdstk.Reference(via_stack_52ee5bc6_3, (12,50.18)))
current_mirror.add(gdstk.Reference(via_stack_52ee5bc6_3, (33.6,50.18)))
current_mirror.add(gdstk.Reference(via_stack_52ee5bc6_3, (12,11)))
current_mirror.add(gdstk.Reference(via_stack_52ee5bc6_3, (33.6,11)))
current_mirror.add(gdstk.Reference(rectangle_0890f839, (0,0)))
current_mirror.add(gdstk.Reference(rectangle_c280ddcc, (0,0)))
current_mirror.add(gdstk.Reference(rectangle_0890f839_1, (40.6,0)))
current_mirror.add(gdstk.Reference(rectangle_c280ddcc_1, (40.6,0)))
current_mirror.add(gdstk.Reference(rectangle_76be499d, (9,8)))
current_mirror.add(gdstk.Reference(rectangle_f95d80a2, (9,8)))
current_mirror.add(gdstk.Reference(rectangle_76be499d_1, (31.6,8)))
current_mirror.add(gdstk.Reference(rectangle_f95d80a2_1, (31.6,8)))
current_mirror.add(gdstk.Reference(straight_route_819dcdec, (14,14)))
current_mirror.add(gdstk.Reference(straight_route_5f260ded, (14,14)))
current_mirror.add(gdstk.Reference(via_stack_a2e89513_1, (19.02,28.39)))
current_mirror.add(gdstk.Reference(via_stack_a2e89513_1, (13.72,28.39)))
current_mirror.add(gdstk.Reference(via_stack_a2e89513_1, (24.68,28.19)))
current_mirror.add(gdstk.Reference(rectangle_2d1cdd23, (18.52,28.14)))
current_mirror.add(gdstk.Reference(rectangle_2d1cdd23_1, (24.18,27.94)))
current_mirror.add(gdstk.Reference(l_route_24cce561, (0,0)))
current_mirror.add(gdstk.Reference(l_route_2b41ba0c, (0,0)))
current_mirror.add(gdstk.Reference(l_route_df1647fc, (0,0)))
current_mirror.add(gdstk.Reference(l_route_99612af3, (0,0)))
current_mirror.add(gdstk.Reference(l_route_25e8295b, (0,0)))
current_mirror.add(gdstk.Reference(l_route_80858dd9, (0,0)))
current_mirror.add(gdstk.Reference(l_route_211b750f, (0,0)))
current_mirror.add(gdstk.Reference(l_route_c3288552, (0,0)))
current_mirror.add(gdstk.Reference(l_route_75e73719, (0,0)))
current_mirror.add(gdstk.Reference(l_route_00207c82, (0,0)))
current_mirror.add(gdstk.Reference(l_route_efd461fa, (0,0)))
current_mirror.add(gdstk.Reference(l_route_b2b0ddf2, (0,0)))
current_mirror.add(gdstk.Reference(straight_route_6e2dd1bb, (0,0)))
current_mirror.add(gdstk.Reference(l_route_e2b7109f, (0,0)))
current_mirror.add(gdstk.Reference(c_route_9bcaa981, (0,0)))
current_mirror.add(gdstk.Reference(c_route_945cb1bc, (0,0)))
current_mirror.add(gdstk.Reference(c_route_0a53d69d, (0,0)))
current_mirror.add(gdstk.Label('avss', (3,3), layer=46, texttype=10))
current_mirror.add(gdstk.Label('avdd', (12,11), layer=46, texttype=10))
current_mirror.add(gdstk.Label('A', (18.52,28.14), layer=42, texttype=10))
current_mirror.add(gdstk.Label('B', (24.18,27.94), layer=42, texttype=10))

lib.write_gds('current_mirror.gds')
